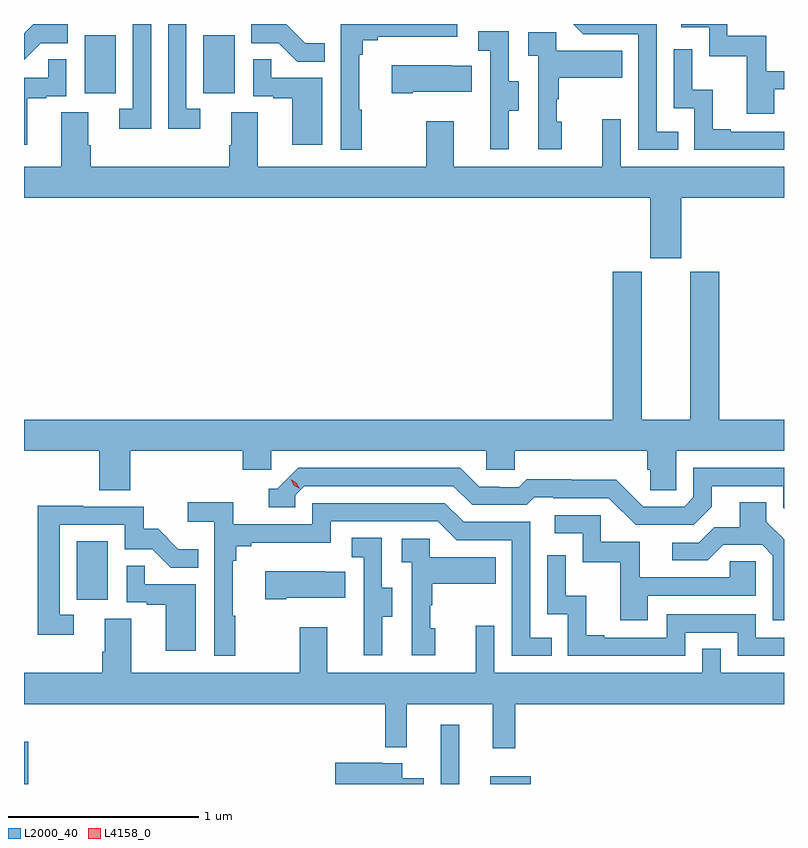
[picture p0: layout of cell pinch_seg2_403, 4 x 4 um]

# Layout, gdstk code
import gdstk
lib = gdstk.Library(unit=1e-6, precision=1e-09)
def R(c, l, rs):  # rectangles x0, y0, x1, y1
    for r in rs: c.add(gdstk.rectangle(r[:2], r[2:], *l))
def P(c, l, *ps):  # polygons
    for p in ps: c.add(gdstk.Polygon(p, *l))
L2000_40 = (2000, 40)
L4158_0 = (4158, 0)

pinch_seg2_403 = lib.new_cell('pinch_seg2_403')
R(pinch_seg2_403, L2000_40, [(952.032,613.915,952.055,614.137), (954.225,613.915,954.322,614.227), (954.485,613.915,954.7,613.957), (952.31,614.886,952.474,615.193), (952.352,617.55,952.516,617.857), (952.976,617.55,953.14,617.857)])
P(pinch_seg2_403, L2000_40, [(953.615,617.815),(953.511,617.815),(953.411,617.915),(953.229,617.915),(953.229,617.814),(953.373,617.814),(953.471,617.716),(953.615,617.716)],
  [(952.96,617.469),(952.887,617.469),(952.887,617.915),(952.791,617.915),(952.791,617.364),(952.96,617.364)],
  [(952.701,617.915),(952.605,617.915),(952.605,617.469),(952.533,617.469),(952.533,617.364),(952.701,617.364)],
  [(955.981,617.571),(956.032,617.571),(956.032,617.667),(955.939,617.667),(955.939,617.853),(955.734,617.853),(955.734,617.915),(955.491,617.915),(955.491,617.898),(955.638,617.898),(955.638,617.745),(955.837,617.745),(955.837,617.442),(955.981,617.442)],
  [(952.119,617.814),(952.263,617.814),(952.263,617.915),(952.081,617.915),(952.032,617.866),(952.032,617.727)],
  [(955.475,617.349),(955.362,617.349),(955.362,617.915),(954.922,617.915),(954.975,617.862),(955.266,617.862),(955.266,617.253),(955.475,617.253)],
  [(953.809,617.465),(953.797,617.465),(953.797,617.753),(953.816,617.753),(953.816,617.83),(953.893,617.83),(953.893,617.849),(954.312,617.849),(954.312,617.915),(953.7,617.915),(953.7,617.253),(953.809,617.253)],
  [(954.583,617.458),(954.637,617.458),(954.637,617.613),(954.582,617.613),(954.582,617.876),(954.423,617.876),(954.423,617.773),(954.486,617.773),(954.486,617.469),(954.485,617.469),(954.485,617.256),(954.583,617.256)],
  [(954.862,617.4),(954.837,617.4),(954.837,617.519),(954.847,617.519),(954.847,617.633),(955.181,617.633),(955.181,617.773),(954.834,617.773),(954.834,617.871),(954.687,617.871),(954.687,617.747),(954.738,617.747),(954.738,617.256),(954.862,617.256)],
  [(956.032,617.349),(955.753,617.349),(955.753,617.362),(955.658,617.362),(955.658,617.57),(955.548,617.57),(955.548,617.782),(955.452,617.782),(955.452,617.472),(955.56,617.472),(955.56,617.253),(956.032,617.253)],
  [(953.602,617.631),(953.333,617.631),(953.333,617.729),(953.238,617.729),(953.238,617.535),(953.345,617.535),(953.345,617.523),(953.444,617.523),(953.444,617.28),(953.602,617.28)],
  [(952.048,617.523),(952.148,617.523),(952.148,617.535),(952.254,617.535),(952.254,617.729),(952.159,617.729),(952.159,617.631),(952.032,617.631),(952.032,617.28),(952.048,617.28)],
  [(954.079,617.558),(954.389,617.558),(954.389,617.695),(954.281,617.695),(954.281,617.698),(953.967,617.698),(953.967,617.551),(954.079,617.551)],
  [(955.492,617),(956.032,617),(956.032,617.164),(955.173,617.164),(955.173,617.413),(955.076,617.413),(955.076,617.164),(954.295,617.164),(954.295,617.404),(954.148,617.404),(954.148,617.164),(953.263,617.164),(953.263,617.45),(953.123,617.45),(953.123,617.276),(953.111,617.276),(953.111,617.164),(952.382,617.164),(952.382,617.276),(952.369,617.276),(952.369,617.45),(952.229,617.45),(952.229,617.164),(952.032,617.164),(952.032,617),(955.328,617),(955.328,616.683),(955.492,616.683)],
  [(955.313,615.57),(955.327,615.57),(955.327,615.46),(955.464,615.46),(955.464,615.668),(956.032,615.668),(956.032,615.832),(955.691,615.832),(955.691,616.611),(955.538,616.611),(955.538,615.832),(955.282,615.832),(955.282,616.611),(955.13,616.611),(955.13,615.832),(952.032,615.832),(952.032,615.668),(952.427,615.668),(952.427,615.46),(952.592,615.46),(952.592,615.668),(953.183,615.668),(953.183,615.57),(953.334,615.57),(953.334,615.668),(954.465,615.668),(954.465,615.57),(954.615,615.57),(954.615,615.668),(955.313,615.668)],
  [(955.651,615.373),(955.651,615.483),(956.028,615.483),(956.028,615.369),(956.032,615.365),(956.032,615.579),(955.554,615.579),(955.554,615.423),(955.506,615.375),(955.29,615.375),(955.148,615.517),(954.912,615.517),(954.912,615.52),(954.679,615.52),(954.637,615.477),(954.534,615.477),(954.534,615.48),(954.427,615.48),(954.328,615.579),(953.475,615.579),(953.364,615.468),(953.321,615.468),(953.321,615.372),(953.46,615.372),(953.46,615.435),(953.508,615.483),(954.291,615.483),(954.39,615.384),(954.679,615.384),(954.718,615.423),(954.817,615.423),(954.817,615.42),(955.11,615.42),(955.251,615.279),(955.557,615.279)],
  [(953.143,614.801),(953.131,614.801),(953.131,615.089),(953.15,615.089),(953.15,615.166),(953.227,615.166),(953.227,615.185),(953.646,615.185),(953.646,615.297),(954.21,615.297),(954.309,615.198),(954.6,615.198),(954.6,614.589),(954.809,614.589),(954.809,614.685),(954.696,614.685),(954.696,615.294),(954.346,615.294),(954.247,615.393),(953.55,615.393),(953.55,615.282),(953.132,615.282),(953.132,615.398),(952.893,615.398),(952.893,615.296),(953.034,615.296),(953.034,614.589),(953.143,614.589)],
  [(956.032,615.203),(955.939,615.296),(955.939,615.398),(955.799,615.398),(955.799,615.266),(955.664,615.266),(955.584,615.186),(955.443,615.186),(955.443,615.093),(955.63,615.093),(955.711,615.174),(955.917,615.174),(955.974,615.117),(955.974,614.778),(956.032,614.778)],
  [(952.294,614.805),(952.221,614.805),(952.221,615.279),(952.563,615.279),(952.563,615.15),(952.707,615.15),(952.805,615.052),(952.949,615.052),(952.949,615.151),(952.845,615.151),(952.738,615.258),(952.662,615.258),(952.662,615.375),(952.343,615.375),(952.343,615.38),(952.105,615.38),(952.105,614.7),(952.294,614.7)],
  [(955.315,614.907),(955.884,614.907),(955.884,615.087),(955.747,615.087),(955.747,615.003),(955.273,615.003),(955.273,615.189),(955.068,615.189),(955.068,615.33),(954.825,615.33),(954.825,615.234),(954.972,615.234),(954.972,615.081),(955.171,615.081),(955.171,614.778),(955.315,614.778)],
  [(953.917,614.794),(953.971,614.794),(953.971,614.949),(953.916,614.949),(953.916,615.212),(953.757,615.212),(953.757,615.109),(953.82,615.109),(953.82,614.805),(953.819,614.805),(953.819,614.592),(953.917,614.592)],
  [(954.196,614.736),(954.171,614.736),(954.171,614.855),(954.181,614.855),(954.181,614.969),(954.515,614.969),(954.515,615.109),(954.168,615.109),(954.168,615.207),(954.021,615.207),(954.021,615.083),(954.072,615.083),(954.072,614.592),(954.196,614.592)],
  [(955.512,614.712),(955.788,614.712),(955.788,614.589),(956.032,614.589),(956.032,614.685),(955.884,614.685),(955.884,614.808),(955.416,614.808),(955.416,614.685),(955.087,614.685),(955.087,614.698),(954.992,614.698),(954.992,614.906),(954.882,614.906),(954.882,615.118),(954.786,615.118),(954.786,614.808),(954.894,614.808),(954.894,614.589),(955.512,614.589)],
  [(952.936,614.967),(952.667,614.967),(952.667,615.065),(952.572,615.065),(952.572,614.871),(952.679,614.871),(952.679,614.859),(952.778,614.859),(952.778,614.616),(952.936,614.616)],
  [(953.413,614.894),(953.723,614.894),(953.723,615.031),(953.615,615.031),(953.615,615.034),(953.301,615.034),(953.301,614.887),(953.413,614.887)],
  [(954.617,614.336),(956.032,614.336),(956.032,614.5),(955.698,614.5),(955.698,614.627),(955.602,614.627),(955.602,614.5),(954.507,614.5),(954.507,614.749),(954.41,614.749),(954.41,614.5),(953.629,614.5),(953.629,614.74),(953.482,614.74),(953.482,614.5),(952.597,614.5),(952.597,614.786),(952.457,614.786),(952.457,614.612),(952.445,614.612),(952.445,614.5),(952.032,614.5),(952.032,614.336),(953.933,614.336),(953.933,614.108),(954.047,614.108),(954.047,614.336),(954.5,614.336),(954.5,614.103),(954.617,614.103)],
  [(954.136,613.945),(954.022,613.945),(954.022,614.023),(953.918,614.023),(953.918,614.028),(953.67,614.028),(953.67,613.915),(954.136,613.915)])
P(pinch_seg2_403, L4158_0, [(953.483,615.468),(953.452,615.487),(953.435,615.519),(953.435,615.52),(953.435,615.52),(953.466,615.501),(953.483,615.468),(953.483,615.468)])

lib.write_gds('pinch_seg2_403.gds')
